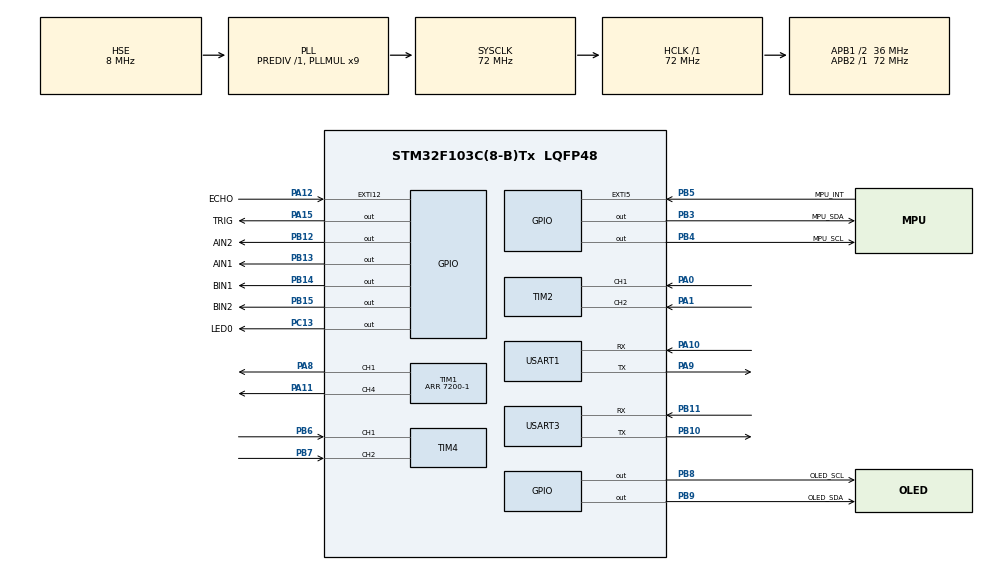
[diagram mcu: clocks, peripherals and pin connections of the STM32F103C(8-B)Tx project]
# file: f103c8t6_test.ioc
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Mcu.Family=STM32F1
Mcu.Name=STM32F103C(8-B)Tx
Mcu.Package=LQFP48
NVIC.EXTI15_10_IRQn=true\:2\:0\:true\:false\:true\:true\:true\:true
NVIC.EXTI9_5_IRQn=true\:0\:0\:false\:false\:true\:true\:true\:true
NVIC.PriorityGroup=NVIC_PRIORITYGROUP_2
NVIC.USART1_IRQn=true\:3\:3\:true\:false\:true\:true\:true\:true
NVIC.USART3_IRQn=true\:2\:0\:true\:false\:true\:true\:true\:true
PA0-WKUP.Signal=S_TIM2_CH1_ETR
PA1.Signal=S_TIM2_CH2
PA10.Mode=Asynchronous
PA10.Signal=USART1_RX
PA11.Signal=S_TIM1_CH4
PA12.GPIO_Label=ECHO
PA12.GPIO_ModeDefaultEXTI=GPIO_MODE_IT_RISING_FALLING
PA12.Signal=GPXTI12
PA13.Mode=Serial_Wire
PA13.Signal=SYS_JTMS-SWDIO
PA14.Mode=Serial_Wire
PA14.Signal=SYS_JTCK-SWCLK
PA15.GPIO_Label=TRIG
PA15.GPIO_Speed=GPIO_SPEED_FREQ_HIGH
PA15.Signal=GPIO_Output
PA8.Signal=S_TIM1_CH1
PA9.Mode=Asynchronous
PA9.Signal=USART1_TX
PB10.Mode=Asynchronous
PB10.Signal=USART3_TX
PB11.Mode=Asynchronous
PB11.Signal=USART3_RX
PB12.GPIO_Label=AIN2
PB12.GPIO_Speed=GPIO_SPEED_FREQ_HIGH
PB12.Signal=GPIO_Output
PB13.GPIO_Label=AIN1
PB13.GPIO_Speed=GPIO_SPEED_FREQ_HIGH
PB13.Signal=GPIO_Output
PB14.GPIO_Label=BIN1
PB14.GPIO_Speed=GPIO_SPEED_FREQ_HIGH
PB14.Signal=GPIO_Output
PB15.GPIO_Label=BIN2
PB15.GPIO_Speed=GPIO_SPEED_FREQ_HIGH
PB15.Signal=GPIO_Output
PB3.GPIO_Label=MPU_SDA
PB3.GPIO_Speed=GPIO_SPEED_FREQ_HIGH
PB3.PinState=GPIO_PIN_SET
PB3.Signal=GPIO_Output
PB4.GPIO_Label=MPU_SCL
PB4.GPIO_Speed=GPIO_SPEED_FREQ_HIGH
PB4.PinState=GPIO_PIN_SET
PB4.Signal=GPIO_Output
PB5.GPIO_Label=MPU_INT
PB5.GPIO_ModeDefaultEXTI=GPIO_MODE_IT_FALLING
PB5.GPIO_PuPd=GPIO_PULLUP
PB5.Signal=GPXTI5
PB6.Signal=S_TIM4_CH1
PB7.Signal=S_TIM4_CH2
PB8.GPIO_Label=OLED_SCL
PB8.GPIO_ModeDefaultOutputPP=GPIO_MODE_OUTPUT_OD
PB8.GPIO_PuPd=GPIO_NOPULL
PB8.GPIO_Speed=GPIO_SPEED_FREQ_HIGH
PB8.PinState=GPIO_PIN_RESET
PB8.Signal=GPIO_Output
PB9.GPIO_Label=OLED_SDA
PB9.GPIO_ModeDefaultOutputPP=GPIO_MODE_OUTPUT_OD
PB9.GPIO_PuPd=GPIO_NOPULL
PB9.GPIO_Speed=GPIO_SPEED_FREQ_HIGH
PB9.Signal=GPIO_Output
PC13-TAMPER-RTC.GPIO_Label=LED0
PC13-TAMPER-RTC.GPIO_Speed=GPIO_SPEED_FREQ_HIGH
PC13-TAMPER-RTC.PinState=GPIO_PIN_RESET
PC13-TAMPER-RTC.Signal=GPIO_Output
PC14-OSC32_IN.Mode=LSE-External-Oscillator
PC14-OSC32_IN.Signal=RCC_OSC32_IN
PC15-OSC32_OUT.Mode=LSE-External-Oscillator
PC15-OSC32_OUT.Signal=RCC_OSC32_OUT
PD0-OSC_IN.Mode=HSE-External-Oscillator
PD0-OSC_IN.Signal=RCC_OSC_IN
PD1-OSC_OUT.Mode=HSE-External-Oscillator
PD1-OSC_OUT.Signal=RCC_OSC_OUT
ProjectManager.HeapSize=0x200
ProjectManager.StackSize=0x400
ProjectManager.TargetToolchain=MDK-ARM V5.32
RCC.AHBFreq_Value=72000000
RCC.APB1CLKDivider=RCC_HCLK_DIV2
RCC.APB1Freq_Value=36000000
RCC.APB1TimFreq_Value=72000000
RCC.APB2Freq_Value=72000000
RCC.APB2TimFreq_Value=72000000
RCC.HCLKFreq_Value=72000000
RCC.PLLMUL=RCC_PLL_MUL9
RCC.PLLSourceVirtual=RCC_PLLSOURCE_HSE
RCC.SYSCLKFreq_VALUE=72000000
RCC.SYSCLKSource=RCC_SYSCLKSOURCE_PLLCLK
RCC.USBFreq_Value=72000000
SH.S_TIM1_CH1.0=TIM1_CH1,PWM Generation1 CH1
SH.S_TIM1_CH4.0=TIM1_CH4,PWM Generation4 CH4
SH.S_TIM2_CH1_ETR.0=TIM2_CH1,Encoder_Interface
SH.S_TIM2_CH2.0=TIM2_CH2,Encoder_Interface
SH.S_TIM4_CH1.0=TIM4_CH1,Encoder_Interface
SH.S_TIM4_CH2.0=TIM4_CH2,Encoder_Interface
TIM1.AutoReloadPreload=TIM_AUTORELOAD_PRELOAD_ENABLE
TIM1.Channel-PWM\ Generation1\ CH1=TIM_CHANNEL_1
TIM1.Channel-PWM\ Generation4\ CH4=TIM_CHANNEL_4
TIM1.Period=7200-1
TIM2.EncoderMode=TIM_ENCODERMODE_TI12
TIM2.IC1Filter=10
TIM3.Prescaler=72-1
TIM4.EncoderMode=TIM_ENCODERMODE_TI12
TIM4.IC1Filter=10
USART1.VirtualMode=VM_ASYNC
USART3.VirtualMode=VM_ASYNC
VP_TIM3_VS_ClockSourceINT.Mode=Internal
board=custom

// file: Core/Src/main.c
/* USER CODE BEGIN Header */
/**
  ******************************************************************************
  * @file           : main.c
  * @brief          : Main program body
  ******************************************************************************
  * @attention
  *
  * Copyright (c) 2024 STMicroelectronics.
  * All rights reserved.
  *
  * This software is licensed under terms that can be found in the LICENSE file
  * in the root directory of this software component.
  * If no LICENSE file comes with this software, it is provided AS-IS.
  *
  ******************************************************************************
  */
/* USER CODE END Header */
#include "main.h"
#include "tim.h"
#include "usart.h"
#include "gpio.h"

/* USER CODE BEGIN Includes */
#include "oled.h"
#include "bmp.h"
#include "stdio.h"
#include "delay.h"
#include "mpu6050.h"//MPU6050驱动库
#include "inv_mpu.h"//陀螺仪驱动库
#include "inv_mpu_dmp_motion_driver.h" //DMP姿态解读库
#include "sr04.h"
#include "motor.h"
#include "encoder.h"
#include "uart.h"
#include "control.h"

/* USER CODE END Includes */

/* USER CODE BEGIN PM */
uint8_t g_oledstring[50];   //OLED显示

/* USER CODE END PM */

void SystemClock_Config(void);

int main(void)
{

  /* MCU Configuration--------------------------------------------------------*/

  /* Reset of all peripherals, Initializes the Flash interface and the Systick. */
  HAL_Init();

  /* Configure the system clock */
  SystemClock_Config();

  /* USER CODE BEGIN SysInit */
  delay_init(72);
  /* USER CODE END SysInit */

  /* Initialize all configured peripherals */
  MX_GPIO_Init();
  MX_USART1_UART_Init();
  MX_TIM3_Init();
  MX_TIM1_Init();
  MX_TIM2_Init();
  MX_TIM4_Init();
  MX_USART3_UART_Init();
  /* USER CODE BEGIN 2 */
  OLED_Init();
  OLED_ColorTurn(0);//0正常显示，1 反色显示
  OLED_DisplayTurn(0);//0正常显示 1 屏幕翻转显示

  MPU_Init();                                      //初始化MPU6050
  while(mpu_dmp_init())                            //初始化mpu_dmp库
  {
    OLED_ShowString(40,0,"Failed",16,1);         //显示字符串
    OLED_Refresh();                              //刷新显存
    delay_ms(50);                                //LED闪烁指示
//    printf("Initialization failed！\r\n");       //串口初始化失败上报
    OLED_ShowString(40,0,"      ",16,1);         //显示字符串
    OLED_Refresh();                              //刷新显存
  }
//  printf("Initialization successed！\r\n");      //串口初始化成功上报
  OLED_ShowString(40,0,"  OK!",16,1);            //显示字符串
  OLED_Refresh();                                //刷新显存
  OLED_Clear();

  set_motor1_enable();
  set_motor2_enable();

  HAL_TIM_Encoder_Start(&htim2,TIM_CHANNEL_ALL);//开启定时器2 编码器模式
  HAL_TIM_Encoder_Start(&htim4,TIM_CHANNEL_ALL);//开启定时器4 编码器模式

  HAL_NVIC_SetPriority(EXTI9_5_IRQn, 0, 0);     //完成陀螺仪初始化后再开启中断，防止出错
  HAL_NVIC_EnableIRQ(EXTI9_5_IRQn);

  HAL_UART_Receive_IT(&huart1, (uint8_t *)g_uasrt1_rx, RXBUFFERSIZE);//清除中断标志位,打开串口1中断继续接收
  HAL_UART_Receive_IT(&huart3,g_usart3_rx,1);//清除中断标志位,打开串口3中断继续接收

  /* USER CODE END 2 */

  /* Infinite loop */
  /* USER CODE BEGIN WHILE */
  while (1)
  {

      /* 蓝牙测试 */
//      OLED_ShowString(80,0,g_usart3_rx,8,1);
      /* 编码器测试 */
      sprintf((char *)g_oledstring,"encoder2:%5d ",g_encoder_left);
      OLED_ShowString(0,32,(uint8_t *)g_oledstring,8,1);
      sprintf((char *)g_oledstring,"encoder4:%5d ",g_encoder_right);
      OLED_ShowString(0,40,(uint8_t *)g_oledstring,8,1);

      /* 陀螺仪测试 */
//      mpu_dmp_get_data(&g_pitch,&g_roll,&g_yaw);        //得到角度值
//      MPU_Get_Accelerometer(&g_aacx,&g_aacy,&g_aacz);   //得到加速度传感器数据
//      MPU_Get_Gyroscope(&g_gyrox,&g_gyroy,&g_gyroz);    //得到陀螺仪数据
//      g_temp=MPU_Get_Temperature();                     //得到温度值
      sprintf((char *)g_oledstring,"Pitch:%4.1f ",g_pitch);
      OLED_ShowString(0,0,(uint8_t *)g_oledstring,8,1);
      sprintf((char *)g_oledstring,"roll:%4.1f ",g_roll);
      OLED_ShowString(0,8,(uint8_t *)g_oledstring,8,1);
      sprintf((char *)g_oledstring,"yaw:%4.1f ",g_yaw);
      OLED_ShowString(0,16,(uint8_t *)g_oledstring,8,1);
//      printf("\r\ntemp:%.1f\r\n",(float)g_temp/100);//读取温度值扩大了一百倍
//      printf("pitch:%.1f,   roll:%.1f,   yaw:%.1f\r\n",g_pitch,g_roll,g_yaw);//上报角度数据
//      printf("gyrox:%d,gyroy:%d,gyroz:%d,aacx:%d,aacy:%d,aacz:%d\r\n",g_gyrox,g_gyroy,g_gyroz,g_aacx,g_aacy,g_aacz);//上报角速度数据，角加速度数据

      /* 超声波测试 */
//      get_distance();
//      sprintf((char *)g_oledstring,"dis:%4.1f cm",g_distance);
//      OLED_ShowString(0,24,(uint8_t *)g_oledstring,12,1);
      OLED_Refresh();

      HAL_Delay(10);
      HAL_GPIO_TogglePin(LED0_GPIO_Port,LED0_Pin);
    /* USER CODE END WHILE */

  }
}

void SystemClock_Config(void)
{
  RCC_OscInitTypeDef RCC_OscInitStruct = {0};
  RCC_ClkInitTypeDef RCC_ClkInitStruct = {0};

  /** Initializes the RCC Oscillators according to the specified parameters
  * in the RCC_OscInitTypeDef structure.
  */
  RCC_OscInitStruct.OscillatorType = RCC_OSCILLATORTYPE_HSE;
  RCC_OscInitStruct.HSEState = RCC_HSE_ON;
  RCC_OscInitStruct.HSEPredivValue = RCC_HSE_PREDIV_DIV1;
  RCC_OscInitStruct.HSIState = RCC_HSI_ON;
  RCC_OscInitStruct.PLL.PLLState = RCC_PLL_ON;
  RCC_OscInitStruct.PLL.PLLSource = RCC_PLLSOURCE_HSE;
  RCC_OscInitStruct.PLL.PLLMUL = RCC_PLL_MUL9;
  if (HAL_RCC_OscConfig(&RCC_OscInitStruct) != HAL_OK)
  {
    Error_Handler();
  }

  /** Initializes the CPU, AHB and APB buses clocks
  */
  RCC_ClkInitStruct.ClockType = RCC_CLOCKTYPE_HCLK|RCC_CLOCKTYPE_SYSCLK
                              |RCC_CLOCKTYPE_PCLK1|RCC_CLOCKTYPE_PCLK2;
  RCC_ClkInitStruct.SYSCLKSource = RCC_SYSCLKSOURCE_PLLCLK;
  RCC_ClkInitStruct.AHBCLKDivider = RCC_SYSCLK_DIV1;
  RCC_ClkInitStruct.APB1CLKDivider = RCC_HCLK_DIV2;
  RCC_ClkInitStruct.APB2CLKDivider = RCC_HCLK_DIV1;

  if (HAL_RCC_ClockConfig(&RCC_ClkInitStruct, FLASH_LATENCY_2) != HAL_OK)
  {
    Error_Handler();
  }
}

void Error_Handler(void)
{
  __disable_irq();
  while (1)
  {
  }
}
